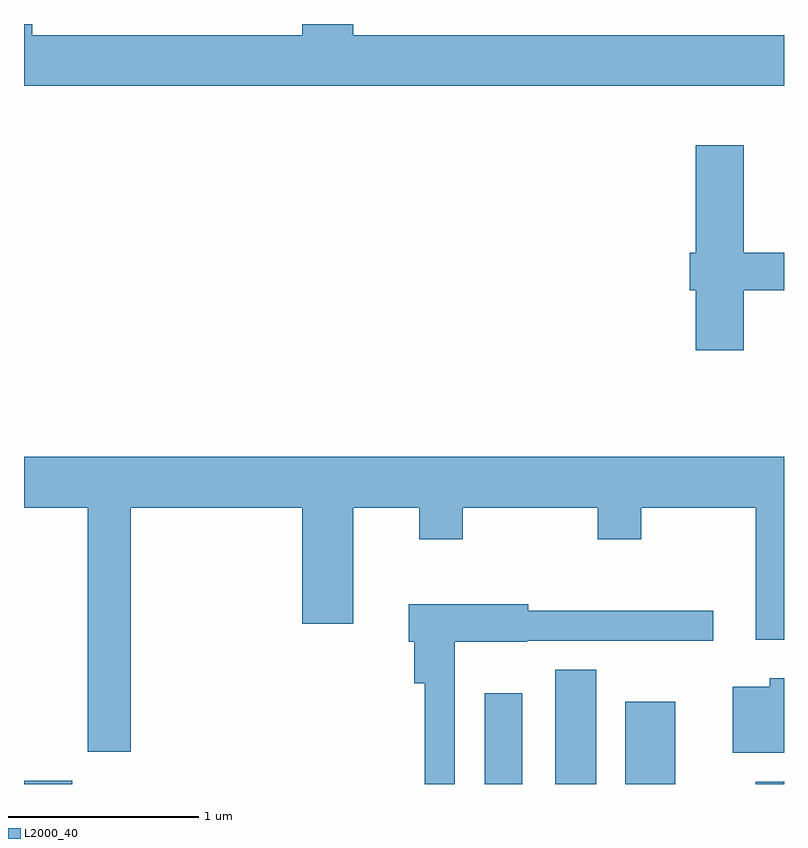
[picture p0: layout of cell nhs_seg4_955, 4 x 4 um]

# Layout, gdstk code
import gdstk
lib = gdstk.Library(unit=1e-6, precision=1e-09)
def R(c, l, rs):  # rectangles x0, y0, x1, y1
    for r in rs: c.add(gdstk.rectangle(r[:2], r[2:], *l))
def P(c, l, *ps):  # polygons
    for p in ps: c.add(gdstk.Polygon(p, *l))
L2000_40 = (2000, 40)

nhs_seg4_955 = lib.new_cell('nhs_seg4_955')
R(nhs_seg4_955, L2000_40, [(213.611,1259.982,213.864,1259.999), (216.036,1259.982,216.234,1260.459), (216.406,1259.982,216.624,1260.584), (216.776,1259.982,217.039,1260.414), (217.461,1259.982,217.611,1259.994)])
P(nhs_seg4_955, L2000_40, [(217.611,1263.924),(215.344,1263.924),(215.344,1263.982),(215.076,1263.982),(215.076,1263.924),(213.654,1263.924),(213.654,1263.982),(213.611,1263.982),(213.611,1263.656),(217.611,1263.656)],
  [(217.399,1262.581),(217.611,1262.581),(217.611,1262.779),(217.399,1262.779),(217.399,1263.344),(217.146,1263.344),(217.146,1262.779),(217.116,1262.779),(217.116,1262.581),(217.146,1262.581),(217.146,1262.266),(217.399,1262.266)],
  [(214.174,1261.436),(215.076,1261.436),(215.076,1260.826),(215.344,1260.826),(215.344,1261.436),(215.691,1261.436),(215.691,1261.271),(215.919,1261.271),(215.919,1261.436),(216.631,1261.436),(216.631,1261.271),(216.859,1261.271),(216.859,1261.436),(217.461,1261.436),(217.461,1260.741),(217.611,1260.741),(217.611,1261.704),(213.611,1261.704),(213.611,1261.436),(213.946,1261.436),(213.946,1260.151),(214.174,1260.151)],
  [(215.879,1260.731),(216.26,1260.731),(216.26,1260.736),(217.238,1260.736),(217.238,1260.894),(216.264,1260.894),(216.264,1260.929),(215.636,1260.929),(215.636,1260.731),(215.666,1260.731),(215.666,1260.511),(215.721,1260.511),(215.721,1259.982),(215.879,1259.982)],
  [(217.611,1260.539),(217.536,1260.539),(217.536,1260.494),(217.341,1260.494),(217.341,1260.146),(217.611,1260.146)])

lib.write_gds('nhs_seg4_955.gds')
